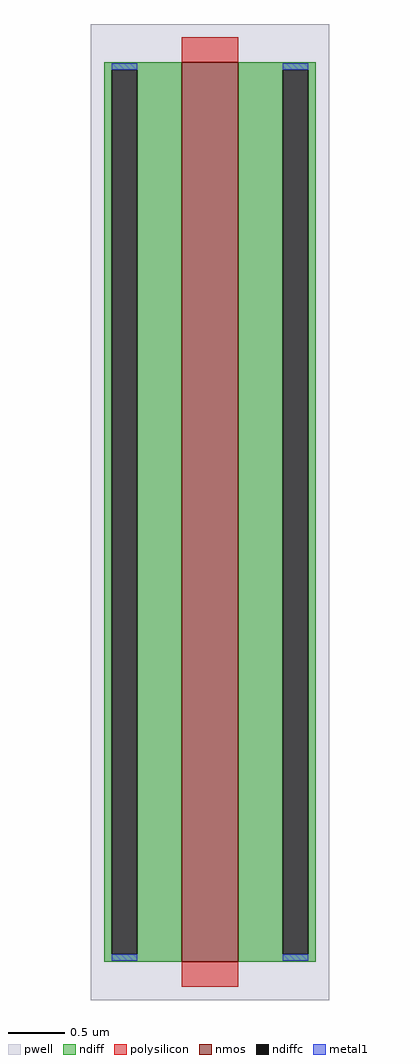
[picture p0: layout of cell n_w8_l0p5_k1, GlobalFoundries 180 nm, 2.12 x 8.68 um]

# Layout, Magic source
magic
tech gf180mcuD
magscale 1 10
<< pwell >>
rect -212 -868 212 868
<< nmos >>
rect -50 -800 50 800
<< ndiff >>
rect -188 -800 -100 -787
rect -100 -800 -50 800
rect 50 -800 100 800
rect 100 -800 188 -787
rect -188 -787 -175 787
rect -129 -787 -100 787
rect 100 -787 129 787
rect 175 -787 188 787
rect -188 787 -100 800
rect 100 787 188 800
<< ndiffc >>
rect -175 -787 -129 787
rect 129 -787 175 787
<< polysilicon >>
rect -50 -844 50 -800
rect -50 800 50 844
<< metal1 >>
rect -175 -798 -129 -787
rect 129 -798 175 -787
rect -175 787 -129 798
rect 129 787 175 798
<< properties >>
string kept_slot w 8 l 0.5 slot 1 from n_w8_l1
<< end >>
